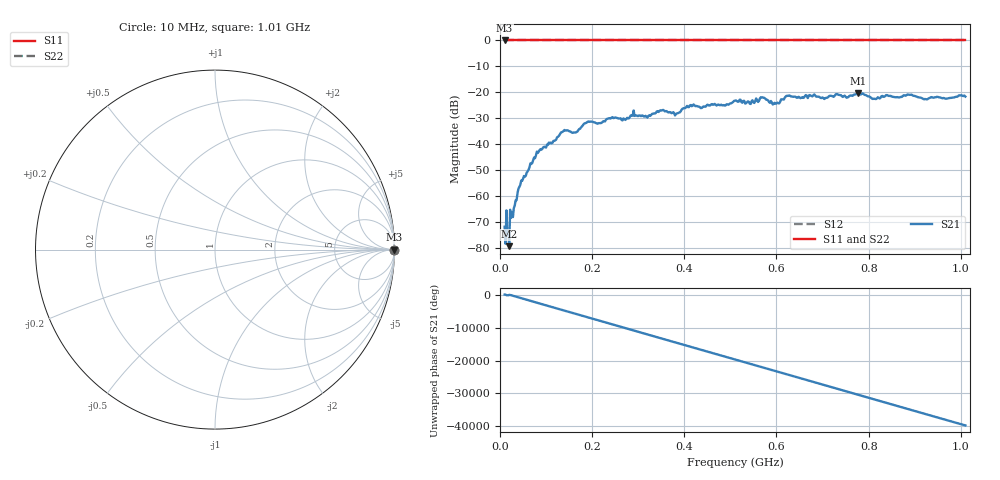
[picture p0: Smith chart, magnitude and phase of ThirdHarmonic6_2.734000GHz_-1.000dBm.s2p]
! 8/17/2025 6:44:41 AM
! C:\ANRITSUVNA\TEMP\TEMP.S2P
! CHANNEL.1
! TR.MEASUREMENT
! RAW.DATA
! RF.CORRECTION.OFF
! AVERAGING.OFF
! IF.BANDWIDTH: 5KHZ
! SWEEPTYPE:  FREQ.SWEEP(Linear)
! Reference Plane Port Info
! PORT:  PORT1  PORT2
! DISTANCE:  0  m  0  m
! TIME:  0  s  0  s
! PHASE.OFFSET:  0  deg.  0  deg.
! LOSS:  0  dB  0  dB
! REF.LOSS:  0  dB  0  dB
! REF.FREQ:  0  Hz  0  Hz
! Power Info
! POWER:  -20  dBm  -20  dBm
! EFF.POWER:  -20  dBm  -20  dBm
! SOURCE.ATTEN:  0  dB  0  dB
! TEST.ATTEN:  0  dB  0  dB
# GHZ S RI R 50.0
! FREQ.GHZ  S11RE  S11IM  S21RE  S21IM  S12RE  S12IM  S22RE  S22IM
!; PortSelection: Port_12
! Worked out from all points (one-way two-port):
!   501 points, 10 MHz to 1.01 GHz, reference 50 ohm
!   highest |S21| = -20.29 dB at 778 MHz (marker M1); lowest = -79.4 dB at 20 MHz (marker M2)
!   lowest |S11| = 0.0 dB at 10 MHz (marker M3)
!   |S11| at or under -10 dB: nowhere
!   |S22| runs from 0.0 to 0.0 dB; largest |S21 - S12| = 1.1
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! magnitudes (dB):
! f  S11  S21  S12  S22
! 10 MHz  0.0  -71.9  0.0  0.0
! 16 MHz  0.0  -75.1  0.0  0.0
! 18 MHz  0.0  -73.7  0.0  0.0
! 20 MHz  0.0  -79.4  0.0  0.0
! 26 MHz  0.0  -66.4  0.0  0.0
! 44 MHz  0.0  -55.8  0.0  0.0
! 82 MHz  0.0  -43.4  0.0  0.0
! 136 MHz  0.0  -35.3  0.0  0.0
! 162 MHz  0.0  -35.5  0.0  0.0
! 178 MHz  0.0  -33.1  0.0  0.0
! 344 MHz  0.0  -27.6  0.0  0.0
! 382 MHz  0.0  -28.3  0.0  0.0
! 416 MHz  0.0  -25.4  0.0  0.0
! 510 MHz  0.0  -23.2  0.0  0.0
! 570 MHz  0.0  -22.0  0.0  0.0
! 596 MHz  0.0  -24.0  0.0  0.0
! 624 MHz  0.0  -21.4  0.0  0.0
! 678 MHz  0.0  -21.6  0.0  0.0
! 778 MHz  0.0  -20.3  0.0  0.0
! 812 MHz  0.0  -22.5  0.0  0.0
! 844 MHz  0.0  -21.4  0.0  0.0
! 1.01 GHz  0.0  -21.7  0.0  0.0
